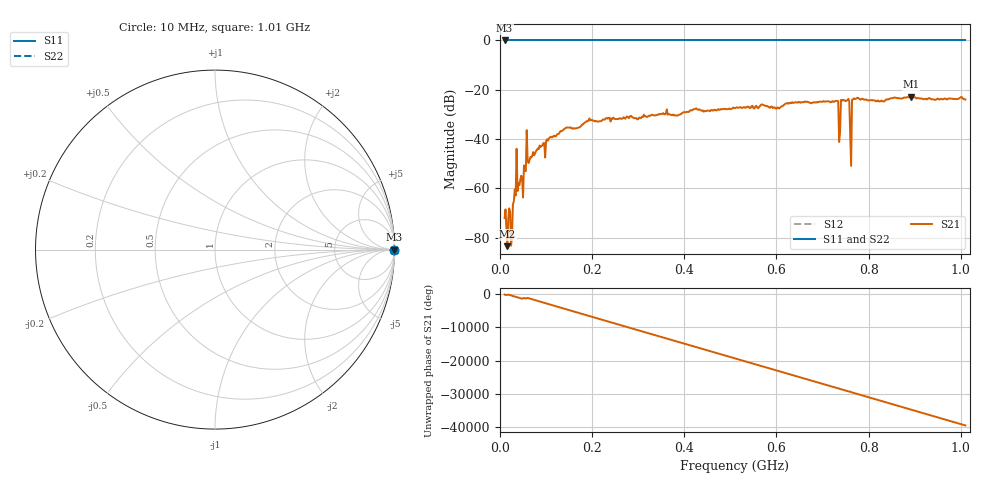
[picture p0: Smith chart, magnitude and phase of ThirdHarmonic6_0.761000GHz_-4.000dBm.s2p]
! 8/16/2025 1:25:41 AM
! C:\ANRITSUVNA\TEMP\TEMP.S2P
! CHANNEL.1
! TR.MEASUREMENT
! RAW.DATA
! RF.CORRECTION.OFF
! AVERAGING.OFF
! IF.BANDWIDTH: 5KHZ
! SWEEPTYPE:  FREQ.SWEEP(Linear)
! Reference Plane Port Info
! PORT:  PORT1  PORT2
! DISTANCE:  0  m  0  m
! TIME:  0  s  0  s
! PHASE.OFFSET:  0  deg.  0  deg.
! LOSS:  0  dB  0  dB
! REF.LOSS:  0  dB  0  dB
! REF.FREQ:  0  Hz  0  Hz
! Power Info
! POWER:  -20  dBm  -20  dBm
! EFF.POWER:  -20  dBm  -20  dBm
! SOURCE.ATTEN:  0  dB  0  dB
! TEST.ATTEN:  0  dB  0  dB
# GHZ S RI R 50.0
! FREQ.GHZ  S11RE  S11IM  S21RE  S21IM  S12RE  S12IM  S22RE  S22IM
!; PortSelection: Port_12
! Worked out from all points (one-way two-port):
!   501 points, 10 MHz to 1.01 GHz, reference 50 ohm
!   highest |S21| = -22.80 dB at 892 MHz (marker M1); lowest = -83.5 dB at 16 MHz (marker M2)
!   lowest |S11| = 0.0 dB at 10 MHz (marker M3)
!   |S11| at or under -10 dB: nowhere
!   |S22| runs from 0.0 to 0.0 dB; largest |S21 - S12| = 1.1
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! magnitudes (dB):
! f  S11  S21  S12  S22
! 10 MHz  0.0  -72.1  0.0  0.0
! 16 MHz  0.0  -83.5  0.0  0.0
! 26 MHz  0.0  -79.9  0.0  0.0
! 32 MHz  0.0  -60.5  0.0  0.0
! 40 MHz  0.0  -58.0  0.0  0.0
! 46 MHz  0.0  -54.9  0.0  0.0
! 62 MHz  0.0  -49.8  0.0  0.0
! 178 MHz  0.0  -34.1  0.0  0.0
! 344 MHz  0.0  -30.2  0.0  0.0
! 510 MHz  0.0  -27.5  0.0  0.0
! 678 MHz  0.0  -25.2  0.0  0.0
! 730 MHz  0.0  -24.5  0.0  0.0
! 734 MHz  0.0  -24.7  0.0  0.0
! 740 MHz  0.0  -24.1  0.0  0.0
! 744 MHz  0.0  -24.1  0.0  0.0
! 754 MHz  0.0  -24.2  0.0  0.0
! 758 MHz  0.0  -24.8  0.0  0.0
! 762 MHz  0.0  -50.9  0.0  0.0
! 768 MHz  0.0  -23.5  0.0  0.0
! 844 MHz  0.0  -23.8  0.0  0.0
! 892 MHz  0.0  -22.8  0.0  0.0
! 1.01 GHz  0.0  -24.0  0.0  0.0
